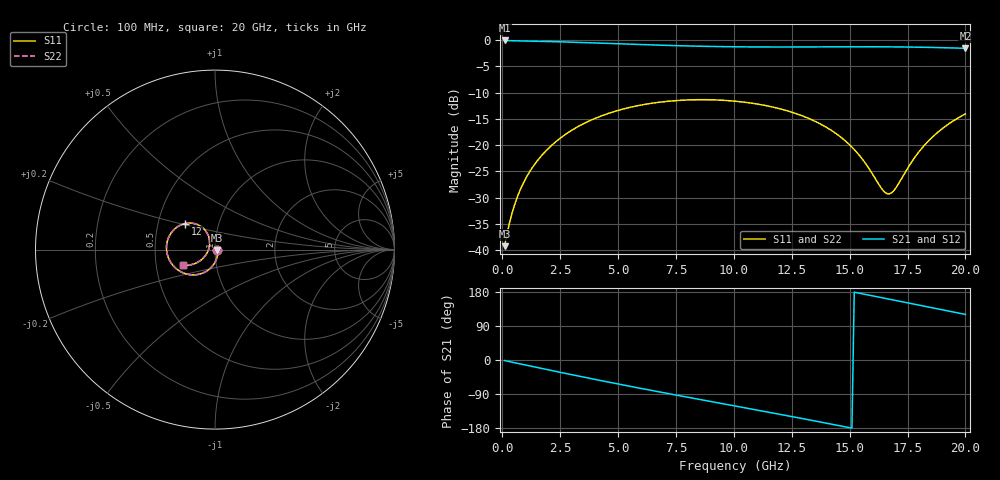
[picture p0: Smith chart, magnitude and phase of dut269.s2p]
! Touchstone file exported from HFSS 2026.1.0
!  File:  C:/ffzhzh/LocalFiles/Ansys_Project_Files/temp_train_TSV_RDL_269_1783070646_18316.aedt
!  Generated:  05:30:36 PM Jul  3, 2026
!  Design:  TSV_RDL
!  Project:  temp_train_TSV_RDL_269_1783070646_18316
! Variables:
!  h_bsmrdl = 5.9um
!  h_ox = 20um
!  h_rdl = 5um
!  h_sub = 51.39um
!  h_tmrdl = 4.71um
!  h_tsv = 51.39um
!  h_via = 3um
!  l_bsmrdl = 974.17um
!  l_sub = 4124.67um
!  l_tmrdl = 163.1um
!  m_sub = 200um
!  pitch = 32.24um
!  r_tsv = 9.89um
!  s_tmrdl = 10um
!  w_bsmrdl = 29.98um
!  w_sub = 500um
!  w_tmrdl = 19.94um
!  x_tsv_center1 = 173.07um
!  x_tsv_center2 = 1177.22um
!  x_tsv_center3 = 1360.26um
!  x_tsv_center4 = 2364.41um
!  x_tsv_center5 = 2547.45um
!  x_tsv_center6 = 3551.6um
# GHz S MA R 50.000000
! Terminal data exported
! Port[1] = TM_RDL1_1_T1
! Port[2] = TM_RDL5_1_T1
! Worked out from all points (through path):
!   200 points, 100 MHz to 20 GHz, reference 50 ohm
!   highest |S21| = -0.10 dB at 100 MHz (marker M1); lowest = -1.6 dB at 20 GHz (marker M2)
!   group delay of S21, straight-line fit = 32.7 ps
!   lowest |S11| = -39.2 dB at 100 MHz (marker M3), VSWR 1.02, Z = 51.1 - j0.155 ohm
!   |S11| at or under -10 dB: start of sweep to end of sweep
!   |S22| runs from -39.2 to -11.3 dB; largest |S21 - S12| = 1.9e-14
!   S11 on the Smith chart (normalised r, x): 100 MHz: 1.02, -0.00; 12 GHz: 0.69, +0.21; 20 GHz: 0.69, -0.13
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0.1  0.01097 -7.9  0.9891 -1.5  0.9891 -1.5  0.01097 -7.9
! Gamma 0 0 0 0
! Port Impedance 50 0 50 0
0.3  0.01781 -35.0  0.9847 -4.2  0.9847 -4.2  0.01781 -35.0
0.6  0.03006 -60.8  0.9815 -8.1  0.9815 -8.1  0.03006 -60.8
1.2  0.05676 -83.3  0.9765 -15.9  0.9765 -15.9  0.05677 -83.3
2.2  0.1028 -102.6  0.9647 -28.7  0.9647 -28.7  0.1028 -102.6
3.5  0.1597 -121.7  0.9449 -45.0  0.9449 -45.0  0.1598 -121.6
5.1  0.2171 -142.7  0.9181 -64.5  0.9181 -64.5  0.2171 -142.7
6.8  0.2563 -163.6  0.8918 -84.4  0.8918 -84.4  0.2564 -163.5
8.4  0.2705 177.9  0.8729 -102.7  0.8729 -102.7  0.2707 178.0
10.1  0.2613 159.1  0.8608 -121.9  0.8608 -121.9  0.2615 159.2
12  0.2215 139.0  0.857 -143.5  0.857 -143.5  0.2217 139.2
13.4  0.173 125.6  0.8586 -159.7  0.8586 -159.7  0.1733 125.8
14.3  0.1342 118.5  0.8604 -170.3  0.8604 -170.3  0.1345 118.8
15  0.1008 115.4  0.8614 -178.6  0.8614 -178.6  0.1012 115.8
15.6  0.07129 117.2  0.8618 174.1  0.8618 174.1  0.07176 117.7
16.4  0.03819 143.0  0.8611 164.4  0.8611 164.4  0.03892 143.4
16.7  0.03438 167.2  0.8603 160.7  0.8603 160.7  0.03514 167.0
17  0.03932 -169.2  0.8593 157.0  0.8593 157.0  0.03994 -169.9
17.8  0.07587 -144.7  0.8551 147.2  0.8551 147.2  0.07613 -145.3
18.4  0.1094 -143.2  0.8505 139.8  0.8505 139.8  0.1096 -143.7
19.1  0.1492 -146.5  0.8436 131.2  0.8436 131.2  0.1493 -146.8
20  0.1982 -153.7  0.8326 120.2  0.8326 120.2  0.1982 -153.9
